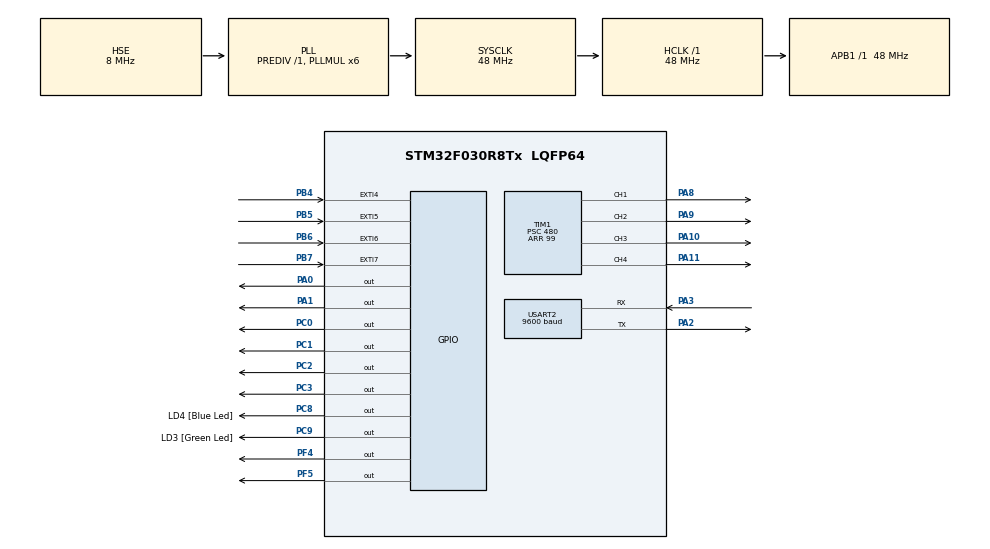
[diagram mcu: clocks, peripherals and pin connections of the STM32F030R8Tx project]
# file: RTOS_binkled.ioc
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FREERTOS.Tasks01=defaultTask,0,128,StartDefaultTask,Default,NULL,Dynamic,NULL,NULL;task1,0,128,task1_function,Default,NULL,Dynamic,NULL,NULL;task2,0,128,task2_function,Default,NULL,Dynamic,NULL,NULL;task3,-3,128,task3_function,Default,NULL,Dynamic,NULL,NULL;task4,-3,128,task4_function,Default,NULL,Dynamic,NULL,NULL
FREERTOS.configUSE_NEWLIB_REENTRANT=0
FREERTOS.copyHeapFile=0
Mcu.Family=STM32F0
Mcu.Name=STM32F030R8Tx
Mcu.Package=LQFP64
NVIC.EXTI4_15_IRQn=true\:3\:0\:false\:false\:true\:true\:true\:true\:true
NVIC.TIM14_IRQn=true\:3\:0\:false\:false\:true\:false\:false\:true\:true
NVIC.TimeBase=TIM14_IRQn
NVIC.TimeBaseIP=TIM14
PA0.Signal=GPIO_Output
PA1.Signal=GPIO_Output
PA10.Signal=S_TIM1_CH3
PA11.Signal=S_TIM1_CH4
PA13.GPIO_Label=SWDIO
PA13.Mode=Serial_Wire
PA13.Signal=SYS_SWDIO
PA14.GPIO_Label=SWCLK
PA14.Mode=Serial_Wire
PA14.Signal=SYS_SWCLK
PA2.Mode=Asynchronous
PA2.Signal=USART2_TX
PA3.Mode=Asynchronous
PA3.Signal=USART2_RX
PA8.Signal=S_TIM1_CH1
PA9.Signal=S_TIM1_CH2
PB4.Signal=GPXTI4
PB5.Signal=GPXTI5
PB6.Signal=GPXTI6
PB7.Signal=GPXTI7
PC0.Signal=GPIO_Output
PC1.Signal=GPIO_Output
PC2.Signal=GPIO_Output
PC3.Signal=GPIO_Output
PC8.GPIO_Label=LD4 [Blue Led]
PC8.Signal=GPIO_Output
PC9.GPIO_Label=LD3 [Green Led]
PC9.Signal=GPIO_Output
PF0-OSC_IN.Mode=HSE-External-Oscillator
PF0-OSC_IN.Signal=RCC_OSC_IN
PF1-OSC_OUT.Mode=HSE-External-Oscillator
PF1-OSC_OUT.Signal=RCC_OSC_OUT
PF4.Signal=GPIO_Output
PF5.Signal=GPIO_Output
ProjectManager.HeapSize=0x200
ProjectManager.StackSize=0x400
ProjectManager.TargetToolchain=STM32CubeIDE
RCC.AHBFreq_Value=48000000
RCC.APB1Freq_Value=48000000
RCC.APB1TimFreq_Value=48000000
RCC.HCLKFreq_Value=48000000
RCC.PLLMUL=RCC_PLL_MUL6
RCC.PLLSourceVirtual=RCC_PLLSOURCE_HSE
RCC.SYSCLKFreq_VALUE=48000000
RCC.SYSCLKSource=RCC_SYSCLKSOURCE_PLLCLK
SH.S_TIM1_CH1.0=TIM1_CH1,PWM Generation1 CH1
SH.S_TIM1_CH2.0=TIM1_CH2,PWM Generation2 CH2
SH.S_TIM1_CH3.0=TIM1_CH3,PWM Generation3 CH3
SH.S_TIM1_CH4.0=TIM1_CH4,PWM Generation4 CH4
TIM1.Channel-PWM\ Generation1\ CH1=TIM_CHANNEL_1
TIM1.Channel-PWM\ Generation2\ CH2=TIM_CHANNEL_2
TIM1.Channel-PWM\ Generation3\ CH3=TIM_CHANNEL_3
TIM1.Channel-PWM\ Generation4\ CH4=TIM_CHANNEL_4
TIM1.Period=99
TIM1.Prescaler=480
USART2.BaudRate=9600
USART2.VirtualMode-Asynchronous=VM_ASYNC
VP_FREERTOS_VS_CMSIS_V1.Mode=CMSIS_V1
VP_SYS_VS_tim14.Mode=TIM14
VP_TIM1_VS_ClockSourceINT.Mode=Internal
board=STM32F0308-DISCO

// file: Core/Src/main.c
/* USER CODE BEGIN Header */
/**
  ******************************************************************************
  * @file           : main.c
  * @brief          : Main program body
  ******************************************************************************
  * @attention
  *
  * Copyright (c) 2024 STMicroelectronics.
  * All rights reserved.
  *
  * This software is licensed under terms that can be found in the LICENSE file
  * in the root directory of this software component.
  * If no LICENSE file comes with this software, it is provided AS-IS.
  *
  ******************************************************************************
  */
/* USER CODE END Header */
#include "main.h"
#include "stdlib.h"
#include "cmsis_os.h"

TIM_HandleTypeDef htim1;

UART_HandleTypeDef huart2;

osThreadId task1Handle;
osThreadId task2Handle;
osThreadId task3Handle;
osThreadId task4Handle;
/* USER CODE BEGIN PV */

// PA8(CH1) - PB4(EXTI4) - OUT3 OUT4
// PA9(CH2) - PB5(EXTI5) - OUT1 OUT2
// PA11(CH3) - PB6(EXTI6) - OUT3 OUT4
// PA10(CH4) - PB7(EXTI7) - OUT1 OUT2

uint8_t c[8] = {0};

volatile int count_timer1;
volatile int count_timer3;
volatile int count_EXTI4 = 0;
volatile int count_EXTI5 = 0;
volatile int count_EXTI6 = 0;
volatile int count_EXTI7 = 0;

volatile int previous_count_encoder1 = 0;
volatile int previous_count_encoder2 = 0;
volatile int previous_count_encoder3 = 0;
volatile int previous_count_encoder4 = 0;

volatile uint32_t lastUpdateTime = 0;

float speed_1 = 0.0;
float speed_2 = 0.0;
float speed_3 = 0.0;
float speed_4 = 0.0;

// PID variables
float kp = 0.003;
float ki = 0.05;
float kd = 0.001;
float setpoint = 600.0;
float input1, output1;
float lastInput1;
float errSum1, lastErr1;

float input2, output2;
float lastInput2;
float errSum2, lastErr2;

float input3, output3;
float lastInput3;
float errSum3, lastErr3;

float input4, output4;
float lastInput4;
float errSum4, lastErr4;

uint16_t pwm_value;

/* USER CODE END PV */

void SystemClock_Config(void);
static void MX_GPIO_Init(void);
static void MX_TIM1_Init(void);
static void MX_USART2_UART_Init(void);
void task1_function(void const * argument);
void task2_function(void const * argument);
void task3_function(void const * argument);
void task4_function(void const * argument);

/* USER CODE BEGIN 0 */

void TransUart2(uint8_t t[])
{
	for(int i =0;i<100;i++)
	{
		if(t[i] == NULL) break;
		else HAL_UART_Transmit(&huart2,&t[i],1,500);
	}
}
void tangtoc()
{
	for(int i = 0;i<100;i++)
	{
		__HAL_TIM_SET_COMPARE(&htim1,TIM_CHANNEL_1,i);
		__HAL_TIM_SET_COMPARE(&htim1,TIM_CHANNEL_2,i);
		__HAL_TIM_SET_COMPARE(&htim1,TIM_CHANNEL_3,i);
		__HAL_TIM_SET_COMPARE(&htim1,TIM_CHANNEL_4,i);
		HAL_Delay(30);
	}

}

void giamtoc()
{
	for(int i = 100;i>0;i--)
	{
		__HAL_TIM_SET_COMPARE(&htim1,TIM_CHANNEL_1,i);
		__HAL_TIM_SET_COMPARE(&htim1,TIM_CHANNEL_2,i);
		__HAL_TIM_SET_COMPARE(&htim1,TIM_CHANNEL_3,i);
		__HAL_TIM_SET_COMPARE(&htim1,TIM_CHANNEL_4,i);
		HAL_Delay(30);
	}

}

void dung()
{
	HAL_GPIO_WritePin(GPIOC,GPIO_PIN_0, 1);
	HAL_GPIO_WritePin(GPIOC,GPIO_PIN_1, 1);
	HAL_GPIO_WritePin(GPIOC,GPIO_PIN_2, 1);
	HAL_GPIO_WritePin(GPIOC,GPIO_PIN_3, 1);
	HAL_GPIO_WritePin(GPIOA,GPIO_PIN_0, 1);
	HAL_GPIO_WritePin(GPIOA,GPIO_PIN_1, 1);
	HAL_GPIO_WritePin(GPIOF,GPIO_PIN_4, 1);
	HAL_GPIO_WritePin(GPIOF,GPIO_PIN_5, 1);
}
void tien()
{
	HAL_GPIO_WritePin(GPIOC,GPIO_PIN_0, 0);
	HAL_GPIO_WritePin(GPIOC,GPIO_PIN_1, 1);
	HAL_GPIO_WritePin(GPIOC,GPIO_PIN_2, 1);
	HAL_GPIO_WritePin(GPIOC,GPIO_PIN_3, 0);
	HAL_GPIO_WritePin(GPIOA,GPIO_PIN_0, 0);
	HAL_GPIO_WritePin(GPIOA,GPIO_PIN_1, 1);
	HAL_GPIO_WritePin(GPIOF,GPIO_PIN_4, 0);
	HAL_GPIO_WritePin(GPIOF,GPIO_PIN_5, 1);
}

void lui()
{
	HAL_GPIO_WritePin(GPIOC,GPIO_PIN_0, 0);
	HAL_GPIO_WritePin(GPIOC,GPIO_PIN_1, 1);
	HAL_GPIO_WritePin(GPIOC,GPIO_PIN_2, 0);
	HAL_GPIO_WritePin(GPIOC,GPIO_PIN_3, 1);
	HAL_GPIO_WritePin(GPIOA,GPIO_PIN_0, 0);
	HAL_GPIO_WritePin(GPIOA,GPIO_PIN_1, 1);
	HAL_GPIO_WritePin(GPIOF,GPIO_PIN_4, 0);
	HAL_GPIO_WritePin(GPIOF,GPIO_PIN_5, 1);
}
void trai()
{
	HAL_GPIO_WritePin(GPIOC,GPIO_PIN_0, 0);
	HAL_GPIO_WritePin(GPIOC,GPIO_PIN_1, 1);
	HAL_GPIO_WritePin(GPIOC,GPIO_PIN_2, 1);
	HAL_GPIO_WritePin(GPIOC,GPIO_PIN_3, 0);
	HAL_GPIO_WritePin(GPIOA,GPIO_PIN_0, 0);
	HAL_GPIO_WritePin(GPIOA,GPIO_PIN_1, 1);
	HAL_GPIO_WritePin(GPIOF,GPIO_PIN_4, 1);
	HAL_GPIO_WritePin(GPIOF,GPIO_PIN_5, 0);
}

void phai()
{
	HAL_GPIO_WritePin(GPIOC,GPIO_PIN_0, 1);
	HAL_GPIO_WritePin(GPIOC,GPIO_PIN_1, 0);
	HAL_GPIO_WritePin(GPIOC,GPIO_PIN_2, 0);
	HAL_GPIO_WritePin(GPIOC,GPIO_PIN_3, 1);
	HAL_GPIO_WritePin(GPIOA,GPIO_PIN_0, 1);
	HAL_GPIO_WritePin(GPIOA,GPIO_PIN_1, 0);
	HAL_GPIO_WritePin(GPIOF,GPIO_PIN_4, 0);
	HAL_GPIO_WritePin(GPIOF,GPIO_PIN_5, 1);
}
void HAL_GPIO_EXTI_Callback(uint16_t GPIO_Pin)
{
	if(GPIO_Pin == GPIO_PIN_4)
	{
		count_EXTI4++;
	}
	if(GPIO_Pin == GPIO_PIN_5)
	{
		count_EXTI5++;
	}
	if(GPIO_Pin == GPIO_PIN_6)
	{
		count_EXTI6++;
	}
	if(GPIO_Pin == GPIO_PIN_7)
	{
		count_EXTI7++;
	}
}

/* USER CODE END 0 */

int main(void)
{

  /* MCU Configuration--------------------------------------------------------*/

  /* Reset of all peripherals, Initializes the Flash interface and the Systick. */
  HAL_Init();

  /* Configure the system clock */
  SystemClock_Config();

  /* Initialize all configured peripherals */
  MX_GPIO_Init();
  MX_TIM1_Init();
  MX_USART2_UART_Init();
  /* USER CODE BEGIN 2 */
  HAL_TIM_PWM_Start(&htim1, TIM_CHANNEL_1);
  HAL_TIM_PWM_Start(&htim1, TIM_CHANNEL_2);
  HAL_TIM_PWM_Start(&htim1, TIM_CHANNEL_3);
  HAL_TIM_PWM_Start(&htim1, TIM_CHANNEL_4);
  //HAL_TIM_Base_Start(&htim1);
  //HAL_TIM_Base_Start(&htim3);
  TransUart2("Start \n");
  TransUart2("Nhap toc do 100 - 900 RPM: ");
  int flag = 1;
  uint8_t c[4];
  while(flag)
  {
	  HAL_UART_Receive(&huart2,c,3,500);
	  c[3]= '\0';
	  int number = atoi((char*)c); // Chuyển chuỗi thành số nguyên
	  setpoint = number;
	  if(setpoint >= 50 && setpoint <= 900)
	  {
		  flag = 0;
		  break;
	  }
  }
  tien();
  __HAL_TIM_SET_COMPARE(&htim1,TIM_CHANNEL_1,20);
  __HAL_TIM_SET_COMPARE(&htim1,TIM_CHANNEL_2,20);
  __HAL_TIM_SET_COMPARE(&htim1,TIM_CHANNEL_3,20);
  __HAL_TIM_SET_COMPARE(&htim1,TIM_CHANNEL_4,20);
  /* USER CODE END 2 */

  /* Create the thread(s) */
  /* definition and creation of defaultTask */

  /* definition and creation of task1 */
  osThreadDef(task1, task1_function, 1, 0, 128);
  task1Handle = osThreadCreate(osThread(task1), NULL);

  /* definition and creation of task2 */
  osThreadDef(task2, task2_function,1, 0, 128);
  task2Handle = osThreadCreate(osThread(task2), NULL);

  /* definition and creation of task3 */
  osThreadDef(task3, task3_function, 1, 0, 128);
  task3Handle = osThreadCreate(osThread(task3), NULL);

  /* definition and creation of task4 */
  osThreadDef(task4, task4_function, 1, 0, 128);
  task4Handle = osThreadCreate(osThread(task4), NULL);

  /* Start scheduler */
  osKernelStart();

  /* We should never get here as control is now taken by the scheduler */
  /* Infinite loop */
  while (1)
  {

  }
}

void SystemClock_Config(void)
{
  RCC_OscInitTypeDef RCC_OscInitStruct = {0};
  RCC_ClkInitTypeDef RCC_ClkInitStruct = {0};

  /** Initializes the RCC Oscillators according to the specified parameters
  * in the RCC_OscInitTypeDef structure.
  */
  RCC_OscInitStruct.OscillatorType = RCC_OSCILLATORTYPE_HSE;
  RCC_OscInitStruct.HSEState = RCC_HSE_ON;
  RCC_OscInitStruct.PLL.PLLState = RCC_PLL_ON;
  RCC_OscInitStruct.PLL.PLLSource = RCC_PLLSOURCE_HSE;
  RCC_OscInitStruct.PLL.PLLMUL = RCC_PLL_MUL6;
  RCC_OscInitStruct.PLL.PREDIV = RCC_PREDIV_DIV1;
  if (HAL_RCC_OscConfig(&RCC_OscInitStruct) != HAL_OK)
  {
    Error_Handler();
  }

  /** Initializes the CPU, AHB and APB buses clocks
  */
  RCC_ClkInitStruct.ClockType = RCC_CLOCKTYPE_HCLK|RCC_CLOCKTYPE_SYSCLK
                              |RCC_CLOCKTYPE_PCLK1;
  RCC_ClkInitStruct.SYSCLKSource = RCC_SYSCLKSOURCE_PLLCLK;
  RCC_ClkInitStruct.AHBCLKDivider = RCC_SYSCLK_DIV1;
  RCC_ClkInitStruct.APB1CLKDivider = RCC_HCLK_DIV1;

  if (HAL_RCC_ClockConfig(&RCC_ClkInitStruct, FLASH_LATENCY_1) != HAL_OK)
  {
    Error_Handler();
  }
}

static void MX_TIM1_Init(void)
{

  TIM_ClockConfigTypeDef sClockSourceConfig = {0};
  TIM_MasterConfigTypeDef sMasterConfig = {0};
  TIM_OC_InitTypeDef sConfigOC = {0};
  TIM_BreakDeadTimeConfigTypeDef sBreakDeadTimeConfig = {0};

  htim1.Instance = TIM1;
  htim1.Init.Prescaler = 480;
  htim1.Init.CounterMode = TIM_COUNTERMODE_UP;
  htim1.Init.Period = 99;
  htim1.Init.ClockDivision = TIM_CLOCKDIVISION_DIV1;
  htim1.Init.RepetitionCounter = 0;
  htim1.Init.AutoReloadPreload = TIM_AUTORELOAD_PRELOAD_DISABLE;
  if (HAL_TIM_Base_Init(&htim1) != HAL_OK)
  {
    Error_Handler();
  }
  sClockSourceConfig.ClockSource = TIM_CLOCKSOURCE_INTERNAL;
  if (HAL_TIM_ConfigClockSource(&htim1, &sClockSourceConfig) != HAL_OK)
  {
    Error_Handler();
  }
  if (HAL_TIM_PWM_Init(&htim1) != HAL_OK)
  {
    Error_Handler();
  }
  sMasterConfig.MasterOutputTrigger = TIM_TRGO_RESET;
  sMasterConfig.MasterSlaveMode = TIM_MASTERSLAVEMODE_DISABLE;
  if (HAL_TIMEx_MasterConfigSynchronization(&htim1, &sMasterConfig) != HAL_OK)
  {
    Error_Handler();
  }
  sConfigOC.OCMode = TIM_OCMODE_PWM1;
  sConfigOC.Pulse = 0;
  sConfigOC.OCPolarity = TIM_OCPOLARITY_HIGH;
  sConfigOC.OCNPolarity = TIM_OCNPOLARITY_HIGH;
  sConfigOC.OCFastMode = TIM_OCFAST_DISABLE;
  sConfigOC.OCIdleState = TIM_OCIDLESTATE_RESET;
  sConfigOC.OCNIdleState = TIM_OCNIDLESTATE_RESET;
  if (HAL_TIM_PWM_ConfigChannel(&htim1, &sConfigOC, TIM_CHANNEL_1) != HAL_OK)
  {
    Error_Handler();
  }
  if (HAL_TIM_PWM_ConfigChannel(&htim1, &sConfigOC, TIM_CHANNEL_2) != HAL_OK)
  {
    Error_Handler();
  }
  if (HAL_TIM_PWM_ConfigChannel(&htim1, &sConfigOC, TIM_CHANNEL_3) != HAL_OK)
  {
    Error_Handler();
  }
  if (HAL_TIM_PWM_ConfigChannel(&htim1, &sConfigOC, TIM_CHANNEL_4) != HAL_OK)
  {
    Error_Handler();
  }
  sBreakDeadTimeConfig.OffStateRunMode = TIM_OSSR_DISABLE;
  sBreakDeadTimeConfig.OffStateIDLEMode = TIM_OSSI_DISABLE;
  sBreakDeadTimeConfig.LockLevel = TIM_LOCKLEVEL_OFF;
  sBreakDeadTimeConfig.DeadTime = 0;
  sBreakDeadTimeConfig.BreakState = TIM_BREAK_DISABLE;
  sBreakDeadTimeConfig.BreakPolarity = TIM_BREAKPOLARITY_HIGH;
  sBreakDeadTimeConfig.AutomaticOutput = TIM_AUTOMATICOUTPUT_DISABLE;
  if (HAL_TIMEx_ConfigBreakDeadTime(&htim1, &sBreakDeadTimeConfig) != HAL_OK)
  {
    Error_Handler();
  }
  HAL_TIM_MspPostInit(&htim1);

}

static void MX_USART2_UART_Init(void)
{

  huart2.Instance = USART2;
  huart2.Init.BaudRate = 9600;
  huart2.Init.WordLength = UART_WORDLENGTH_8B;
  huart2.Init.StopBits = UART_STOPBITS_1;
  huart2.Init.Parity = UART_PARITY_NONE;
  huart2.Init.Mode = UART_MODE_TX_RX;
  huart2.Init.HwFlowCtl = UART_HWCONTROL_NONE;
  huart2.Init.OverSampling = UART_OVERSAMPLING_16;
  huart2.Init.OneBitSampling = UART_ONE_BIT_SAMPLE_DISABLE;
  huart2.AdvancedInit.AdvFeatureInit = UART_ADVFEATURE_NO_INIT;
  if (HAL_UART_Init(&huart2) != HAL_OK)
  {
    Error_Handler();
  }

}

static void MX_GPIO_Init(void)
{
  GPIO_InitTypeDef GPIO_InitStruct = {0};

  /* GPIO Ports Clock Enable */
  __HAL_RCC_GPIOF_CLK_ENABLE();
  __HAL_RCC_GPIOC_CLK_ENABLE();
  __HAL_RCC_GPIOA_CLK_ENABLE();
  __HAL_RCC_GPIOB_CLK_ENABLE();

  /*Configure GPIO pin Output Level */
  HAL_GPIO_WritePin(GPIOC, GPIO_PIN_0|GPIO_PIN_1|GPIO_PIN_2|GPIO_PIN_3
                          |LD4_Pin|LD3_Pin, GPIO_PIN_RESET);

  /*Configure GPIO pin Output Level */
  HAL_GPIO_WritePin(GPIOA, GPIO_PIN_0|GPIO_PIN_1, GPIO_PIN_RESET);

  /*Configure GPIO pin Output Level */
  HAL_GPIO_WritePin(GPIOF, GPIO_PIN_4|GPIO_PIN_5, GPIO_PIN_RESET);

  /*Configure GPIO pins : PC0 PC1 PC2 PC3
                           LD4_Pin LD3_Pin */
  GPIO_InitStruct.Pin = GPIO_PIN_0|GPIO_PIN_1|GPIO_PIN_2|GPIO_PIN_3
                          |LD4_Pin|LD3_Pin;
  GPIO_InitStruct.Mode = GPIO_MODE_OUTPUT_PP;
  GPIO_InitStruct.Pull = GPIO_NOPULL;
  GPIO_InitStruct.Speed = GPIO_SPEED_FREQ_LOW;
  HAL_GPIO_Init(GPIOC, &GPIO_InitStruct);

  /*Configure GPIO pins : PA0 PA1 */
  GPIO_InitStruct.Pin = GPIO_PIN_0|GPIO_PIN_1;
  GPIO_InitStruct.Mode = GPIO_MODE_OUTPUT_PP;
  GPIO_InitStruct.Pull = GPIO_NOPULL;
  GPIO_InitStruct.Speed = GPIO_SPEED_FREQ_LOW;
  HAL_GPIO_Init(GPIOA, &GPIO_InitStruct);

  /*Configure GPIO pins : PF4 PF5 */
  GPIO_InitStruct.Pin = GPIO_PIN_4|GPIO_PIN_5;
  GPIO_InitStruct.Mode = GPIO_MODE_OUTPUT_PP;
  GPIO_InitStruct.Pull = GPIO_NOPULL;
  GPIO_InitStruct.Speed = GPIO_SPEED_FREQ_LOW;
  HAL_GPIO_Init(GPIOF, &GPIO_InitStruct);

  /*Configure GPIO pins : PB4 PB5 PB6 PB7 */
  GPIO_InitStruct.Pin = GPIO_PIN_4|GPIO_PIN_5|GPIO_PIN_6|GPIO_PIN_7;
  GPIO_InitStruct.Mode = GPIO_MODE_IT_RISING;
  GPIO_InitStruct.Pull = GPIO_NOPULL;
  HAL_GPIO_Init(GPIOB, &GPIO_InitStruct);

  /* EXTI interrupt init*/
  HAL_NVIC_SetPriority(EXTI4_15_IRQn, 3, 0);
  HAL_NVIC_EnableIRQ(EXTI4_15_IRQn);

}

void task1_function(void const * argument)
{
  /* USER CODE BEGIN task1_function */

  /* Infinite loop */
	for(;;)
	{
	//HAL_UART_Receive(&huart2,&c[0],8,500);
	__enable_irq();
	HAL_Delay(1000);
	__disable_irq();
	speed_1 = (count_EXTI4/210)*60.0;
	count_EXTI4 = 0;
	input1 = speed_1;
	float err = setpoint - input1;
	errSum1 += err;
	float dErr = (input1 - lastInput1);
	output1 = kp * err + ki * errSum1 - kd * dErr;
	lastErr1 = err;
	lastInput1 = input1;
	if(output1 < 0) output1 = 0;
	else if(output1 > 100) output1 = 100;
	__HAL_TIM_SET_COMPARE(&htim1,TIM_CHANNEL_1,output1);
	uint32_t output_Tx = (uint32_t)output1;
	char str[4];
	sprintf(str, "%d", output_Tx);
 	TransUart2("OUTPUT1: ");
	HAL_UART_Transmit(&huart2, &str, 3, 500);
	TransUart2("\n");
	}
  /* USER CODE END task1_function */
}

void task2_function(void const * argument)
{
  /* USER CODE BEGIN task2_function */
  /* Infinite loop */
  for(;;)
  {
	  __enable_irq();
	  HAL_Delay(1000);
	  __disable_irq();
	  speed_2 = (count_EXTI5/210)*60.0;
	  count_EXTI5 = 0;
 	  input2 = speed_2;
	  float err = setpoint - input2;
	  errSum2 += err;
	  float dErr = (input2 - lastInput2);
	  output2 = kp * err + ki * errSum2 - kd * dErr;
	  lastErr2 = err;
	  lastInput2 = input2;
	  if(output2 < 0) output2 = 0;
	  else if(output2 > 100) output2 = 100;
	  __HAL_TIM_SET_COMPARE(&htim1,TIM_CHANNEL_2,output2);
	  uint32_t output_Tx = (uint32_t)output2;
	  char str[4]; // Chuỗi để lưu giá trị uint8_t dưới dạng chuỗi
	  sprintf(str, "%d", output_Tx); // Chuyển giá trị uint8_t thành chuỗi
	  TransUart2("OUTPUT2: ");
	  HAL_UART_Transmit(&huart2, &str, 3, 500);
	  TransUart2("\n");
  }
  /* USER CODE END task2_function */
}

void task3_function(void const * argument)
{
  /* USER CODE BEGIN task3_function */
  /* Infinite loop */
  for(;;)
  {
	  __enable_irq();
	  HAL_Delay(1000);
	  __disable_irq();
	  speed_3 = (count_EXTI6/210)*60.0;
	  count_EXTI6 = 0;
	  input3 = speed_3;
	  float err = setpoint - input3;
	  errSum3 += err;
	  float dErr = (input3 - lastInput3);
	  output3 = kp * err + ki * errSum3 - kd * dErr;
	  lastErr3 = err;
	  lastInput3 = input3;
	  if(output3 < 0) output3 = 0;
	  else if(output3 > 100) output3 = 100;
	  __HAL_TIM_SET_COMPARE(&htim1,TIM_CHANNEL_3,output3);
	  uint32_t output_Tx = (uint32_t)output3;
	  char str[4]; // Chuỗi để lưu giá trị uint8_t dưới dạng chuỗi
	  sprintf(str, "%d", output_Tx); // Chuyển giá trị uint8_t thành chuỗi
	  TransUart2("OUTPUT3: ");
	  HAL_UART_Transmit(&huart2, &str, 3, 500);
	  TransUart2("\n");
  }
  /* USER CODE END task3_function */
}

void task4_function(void const * argument)
{
  /* USER CODE BEGIN task4_function */
  /* Infinite loop */
  for(;;)
  {
	  __enable_irq();
	  HAL_Delay(1000);
	  __disable_irq();
	  speed_4 = (count_EXTI7/210)*60.0;
	  count_EXTI7 = 0;
	  input4 = speed_4;
	  float err = setpoint - input4;
	  errSum4 += err;
	  float dErr = (input4 - lastInput4);
	  output4 = kp * err + ki * errSum4 - kd * dErr;
	  lastErr4 = err;
	  lastInput4 = input4;
	  if(output4 < 0) output4 = 0;
	  else if(output4 > 100) output4 = 100;
	  __HAL_TIM_SET_COMPARE(&htim1,TIM_CHANNEL_4,output4);
	  uint32_t output_Tx = (uint32_t)output4;
	  char str[4]; // Chuỗi để lưu giá trị uint8_t dưới dạng chuỗi
	  sprintf(str, "%d", output_Tx); // Chuyển giá trị uint8_t thành chuỗi
	  TransUart2("OUTPUT4: ");
	  HAL_UART_Transmit(&huart2, &str, 3, 500);
	  TransUart2("\n");
  }
  /* USER CODE END task4_function */
}

void HAL_TIM_PeriodElapsedCallback(TIM_HandleTypeDef *htim)
{
  if (htim->Instance == TIM14) {
    HAL_IncTick();
  }
}

void Error_Handler(void)
{
  __disable_irq();
  while (1)
  {
  }
}
